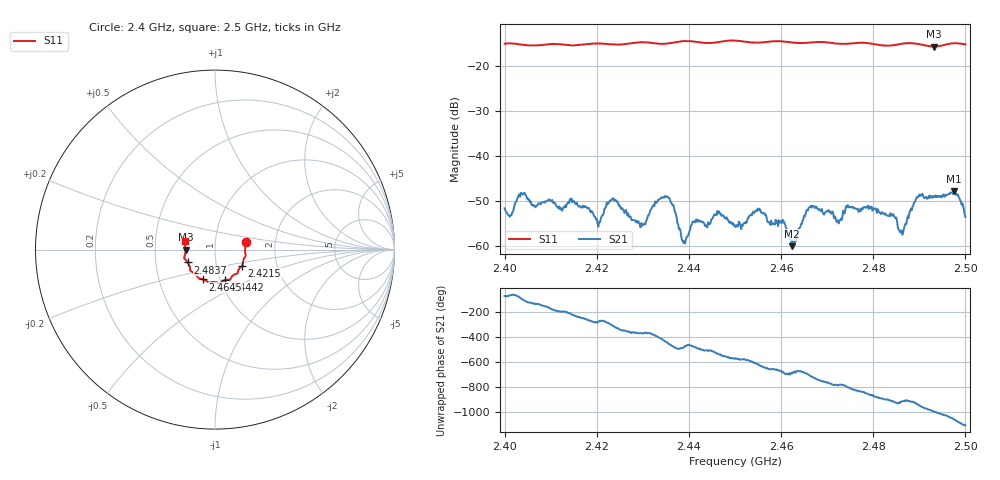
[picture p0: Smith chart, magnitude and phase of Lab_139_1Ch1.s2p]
# Hz S RI R 50
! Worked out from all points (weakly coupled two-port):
!   601 points, 2.4 GHz to 2.5 GHz, reference 50 ohm
!   highest |S21| = -47.94 dB at 2.4975 GHz (marker M1); lowest = -60.1 dB at 2.4623 GHz (marker M2)
!   lowest |S11| = -15.7 dB at 2.4932 GHz (marker M3), VSWR 1.39, Z = 36 - j0.0503 ohm
!   |S11| at or under -10 dB: start of sweep to end of sweep
!   S12 and S22 are empty: the file has one direction only
!   S11 on the Smith chart (normalised r, x): 2.4 GHz: 1.41, +0.12; 2.4215 GHz: 1.33, -0.25; 2.4442 GHz: 1.05, -0.37; 2.4645 GHz: 0.83, -0.29; 2.4837 GHz: 0.73, -0.11; 2.5 GHz: 0.71, +0.07
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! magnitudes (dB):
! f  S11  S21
! 2.4 GHz  -15.1  -51.7
! 2.404 GHz  -15.4  -48.5
! 2.4167 GHz  -15.3  -51.6
! 2.4215 GHz  -15.1  -52.8
! 2.4238 GHz  -15.3  -50.1
! 2.43 GHz  -14.8  -55.3
! 2.4333 GHz  -15.1  -49.8
! 2.4362 GHz  -14.9  -50.5
! 2.4388 GHz  -14.5  -59.4
! 2.4442 GHz  -15.0  -54.8
! 2.45 GHz  -14.4  -55.5
! 2.455 GHz  -14.9  -51.7
! 2.4623 GHz  -14.8  -60.1
! 2.4645 GHz  -15.0  -55.2
! 2.4667 GHz  -14.8  -51.5
! 2.4833 GHz  -15.6  -53.4
! 2.4837 GHz  -15.5  -52.8
! 2.4862 GHz  -15.1  -56.6
! 2.4897 GHz  -15.1  -49.3
! 2.4932 GHz  -15.7  -49.2
! 2.4975 GHz  -15.0  -47.9
! 2.5 GHz  -15.3  -53.6
